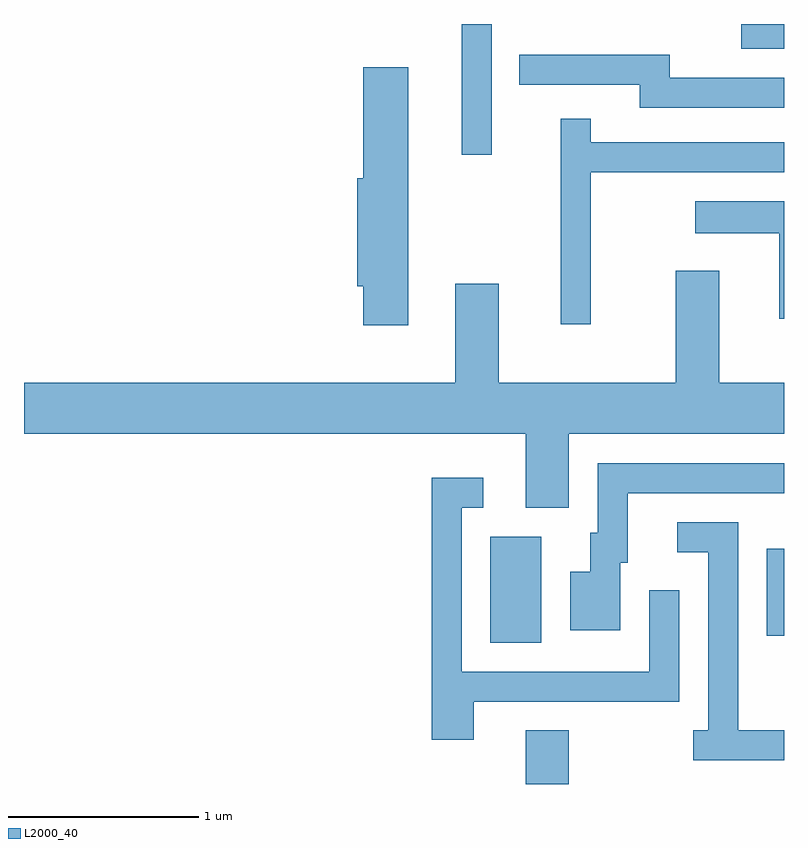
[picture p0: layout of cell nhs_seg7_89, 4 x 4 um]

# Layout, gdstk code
import gdstk
lib = gdstk.Library(unit=1e-6, precision=1e-09)
def R(c, l, rs):  # rectangles x0, y0, x1, y1
    for r in rs: c.add(gdstk.rectangle(r[:2], r[2:], *l))
def P(c, l, *ps):  # polygons
    for p in ps: c.add(gdstk.Polygon(p, *l))
L2000_40 = (2000, 40)

nhs_seg7_89 = lib.new_cell('nhs_seg7_89')
R(nhs_seg7_89, L2000_40, [(190.251,1710.252,190.479,1710.534), (190.066,1710.996,190.334,1711.554), (191.521,1711.031,191.611,1711.489), (189.916,1713.563,190.074,1714.252), (191.386,1714.121,191.611,1714.252)])
P(nhs_seg7_89, L2000_40, [(191.611,1713.969),(191.009,1713.969),(191.009,1714.089),(190.218,1714.089),(190.218,1713.931),(190.851,1713.931),(190.851,1713.811),(191.611,1713.811)],
  [(189.634,1714.024),(189.396,1714.024),(189.396,1713.439),(189.366,1713.439),(189.366,1712.871),(189.396,1712.871),(189.396,1712.666),(189.634,1712.666)],
  [(190.594,1713.471),(191.611,1713.471),(191.611,1713.629),(190.594,1713.629),(190.594,1713.753),(190.436,1713.753),(190.436,1712.673),(190.594,1712.673)],
  [(191.611,1713.319),(191.143,1713.319),(191.143,1713.151),(191.586,1713.151),(191.586,1712.701),(191.611,1712.701)],
  [(190.479,1712.096),(191.611,1712.096),(191.611,1712.364),(191.269,1712.364),(191.269,1712.954),(191.041,1712.954),(191.041,1712.364),(190.109,1712.364),(190.109,1712.884),(189.881,1712.884),(189.881,1712.364),(187.611,1712.364),(187.611,1712.096),(190.251,1712.096),(190.251,1711.706),(190.479,1711.706)],
  [(190.749,1711.416),(190.789,1711.416),(190.789,1711.781),(191.611,1711.781),(191.611,1711.939),(190.631,1711.939),(190.631,1711.574),(190.591,1711.574),(190.591,1711.369),(190.486,1711.369),(190.486,1711.061),(190.749,1711.061)],
  [(189.979,1710.686),(191.059,1710.686),(191.059,1711.273),(190.901,1711.273),(190.901,1710.844),(189.914,1710.844),(189.914,1711.706),(190.028,1711.706),(190.028,1711.864),(189.756,1711.864),(189.756,1710.486),(189.979,1710.486)],
  [(191.611,1710.534),(191.369,1710.534),(191.369,1711.629),(191.048,1711.629),(191.048,1711.471),(191.211,1711.471),(191.211,1710.534),(191.133,1710.534),(191.133,1710.376),(191.611,1710.376)])

lib.write_gds('nhs_seg7_89.gds')
